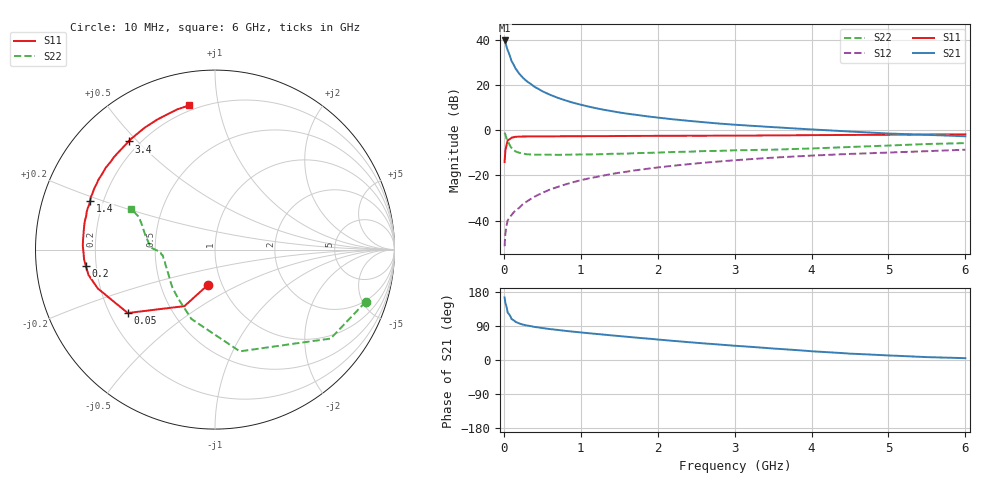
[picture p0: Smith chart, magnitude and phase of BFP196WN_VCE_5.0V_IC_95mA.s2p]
! (c) 2017  Infineon Technologies AG, Munich
! Infineon Technologies  Discrete & RF Semiconductors
! BFP196WN
! VCE =  5.0 V,  IC =  95 mA
! Common Emitter S-Parameters:  Jan 2017
# GHz  S  MA  R  50
!  f  S11  S21  S12  S22
! GHz  MAG  ANG  MAG  ANG  MAG  ANG  MAG  ANG
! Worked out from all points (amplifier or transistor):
!   77 points, 10 MHz to 6 GHz, reference 50 ohm
!   highest |S21| = 39.9 dB at 10 MHz (marker M1)
!   |S21| within 3 dB of that: start of sweep to 37.49 MHz
!   unconditionally stable (mu >= 1): 477.9 MHz to 2.627 GHz
!   at 130 MHz: K = 0.70, MSG = 32.6 dB, |S12| = -36.3 dB
!   at 2.2 GHz: K = 1.02, MAG = 9.5 dB, |S12| = -15.7 dB
!   at 6 GHz: K = 0.92, MSG = 3.0 dB, |S12| = -8.6 dB
!   S11 on the Smith chart (normalised r, x): 10 MHz: 0.86, -0.35; 50 MHz: 0.27, -0.30; 200 MHz: 0.16, -0.06; 1.4 GHz: 0.15, +0.18; 3.4 GHz: 0.16, +0.47; 6 GHz: 0.17, +0.82
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0.01  0.1984 -100.9  98.72 165.1  0.0027 77.6  0.8885 -19.1
0.02  0.3583 -118.4  88.25 150.7  0.0051 71.0  0.8128 -37.6
0.05  0.601 -144.0  59.8 124.9  0.0101 53.8  0.5835 -76.3
0.1  0.6878 -161.6  34.48 108.2  0.0132 55.1  0.4081 -108.8
0.15  0.719 -168.7  23.91 100.9  0.0167 56.1  0.3419 -126.7
0.2  0.7255 -172.9  18.11 96.5  0.0192 62.8  0.3187 -137.8
0.25  0.7316 -175.8  14.59 93.3  0.0234 64.2  0.3048 -144.8
0.3  0.7321 -178.1  12.22 91.1  0.0265 67.1  0.2952 -150.6
0.4  0.7368 178.4  9.224 87.2  0.0338 69.8  0.2895 -157.1
0.5  0.7373 175.8  7.386 84.3  0.041 71.0  0.2887 -161.7
0.6  0.7377 173.3  6.171 81.6  0.0488 71.1  0.2882 -165.2
0.7  0.7392 171.3  5.281 79.4  0.0556 71.8  0.2863 -167.6
0.9  0.7423 167.1  4.107 74.8  0.0707 71.7  0.2907 -170.5
1.1  0.7452 163.6  3.374 70.8  0.0858 71.0  0.2928 -173.2
1.4  0.7472 158.6  2.676 65.0  0.1077 69.5  0.3019 -175.8
1.7  0.7533 153.8  2.232 59.5  0.1295 67.4  0.3115 -177.4
2.1  0.7568 147.7  1.839 52.3  0.1572 64.4  0.3261 -179.4
3.1  0.7652 132.9  1.302 36.3  0.2235 55.5  0.3637 176.2
3.4  0.7712 128.6  1.209 31.9  0.2419 53.0  0.3712 174.2
4.1  0.7852 118.8  1.028 21.9  0.2807 46.7  0.4025 166.9
5.1  0.8016 108.0  0.84 11.2  0.3265 38.9  0.4678 156.5
6  0.8158 100.2  0.739 4.8  0.3729 32.8  0.5224 154.3
